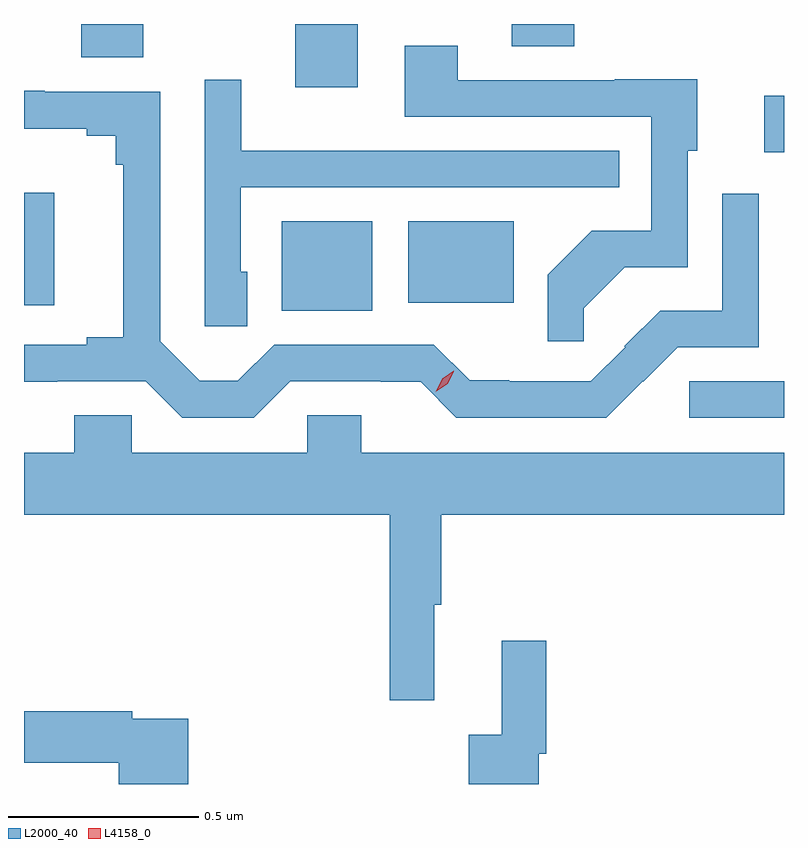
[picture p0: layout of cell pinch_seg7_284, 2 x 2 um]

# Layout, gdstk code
import gdstk
lib = gdstk.Library(unit=1e-6, precision=1e-09)
def R(c, l, rs):  # rectangles x0, y0, x1, y1
    for r in rs: c.add(gdstk.rectangle(r[:2], r[2:], *l))
def P(c, l, *ps):  # polygons
    for p in ps: c.add(gdstk.Polygon(p, *l))
L2000_40 = (2000, 40)
L4158_0 = (4158, 0)

pinch_seg7_284 = lib.new_cell('pinch_seg7_284')
R(pinch_seg7_284, L2000_40, [(699.633,1060.812,699.883,1060.908), (698.561,1061.093,698.8,1061.329), (697.883,1061.108,697.963,1061.404), (698.894,1061.114,699.172,1061.329), (699.831,1061.51,699.883,1061.659), (698.597,1061.682,698.761,1061.848), (698.033,1061.76,698.197,1061.848), (699.167,1061.789,699.331,1061.848)])
P(pinch_seg7_284, L2000_40, [(699.356,1061.1),(699.464,1061.208),(699.63,1061.208),(699.63,1061.514),(699.655,1061.514),(699.655,1061.702),(699.437,1061.702),(699.437,1061.7),(699.025,1061.7),(699.025,1061.791),(698.885,1061.791),(698.885,1061.604),(699.534,1061.604),(699.534,1061.304),(699.377,1061.304),(699.261,1061.188),(699.261,1061.013),(699.356,1061.013)],
  [(698.47,1061.196),(698.454,1061.196),(698.454,1061.418),(699.449,1061.418),(699.449,1061.514),(698.789,1061.514),(698.789,1061.515),(698.455,1061.515),(698.455,1061.701),(698.358,1061.701),(698.358,1061.053),(698.47,1061.053)],
  [(698.583,1060.908),(698.822,1060.908),(698.822,1060.907),(698.927,1060.907),(699.021,1060.812),(699.415,1060.812),(699.511,1060.908),(699.512,1060.907),(699.603,1060.998),(699.816,1060.998),(699.816,1061.401),(699.72,1061.401),(699.72,1061.094),(699.557,1061.094),(699.463,1061),(699.465,1060.998),(699.375,1060.908),(699.16,1060.908),(699.16,1060.91),(699.056,1060.91),(698.961,1061.004),(698.541,1061.004),(698.446,1060.909),(698.345,1060.909),(698.241,1061.013),(698.241,1061.67),(697.937,1061.67),(697.937,1061.672),(697.883,1061.672),(697.883,1061.573),(698.048,1061.573),(698.048,1061.554),(698.125,1061.554),(698.125,1061.477),(698.144,1061.477),(698.144,1061.024),(698.048,1061.024),(698.048,1061.004),(697.883,1061.004),(697.883,1060.907),(697.971,1060.907),(697.971,1060.908),(698.204,1060.908),(698.3,1060.812),(698.487,1060.812)],
  [(698.963,1060.32),(698.981,1060.32),(698.981,1060.556),(699.883,1060.556),(699.883,1060.72),(698.77,1060.72),(698.77,1060.818),(698.628,1060.818),(698.628,1060.72),(698.166,1060.72),(698.166,1060.818),(698.015,1060.818),(698.015,1060.72),(697.883,1060.72),(697.883,1060.556),(698.845,1060.556),(698.845,1060.068),(698.963,1060.068)],
  [(699.237,1059.928),(699.257,1059.928),(699.257,1060.225),(699.14,1060.225),(699.14,1059.977),(699.054,1059.977),(699.054,1059.848),(699.237,1059.848)],
  [(698.315,1060.02),(698.168,1060.02),(698.168,1060.04),(697.883,1060.04),(697.883,1059.904),(698.132,1059.904),(698.132,1059.848),(698.315,1059.848)])
P(pinch_seg7_284, L4158_0, [(698.967,1060.88),(698.967,1060.88),(698.983,1060.914),(699.014,1060.935),(699.014,1060.935),(699.014,1060.934),(698.998,1060.901),(698.967,1060.88)])

lib.write_gds('pinch_seg7_284.gds')
